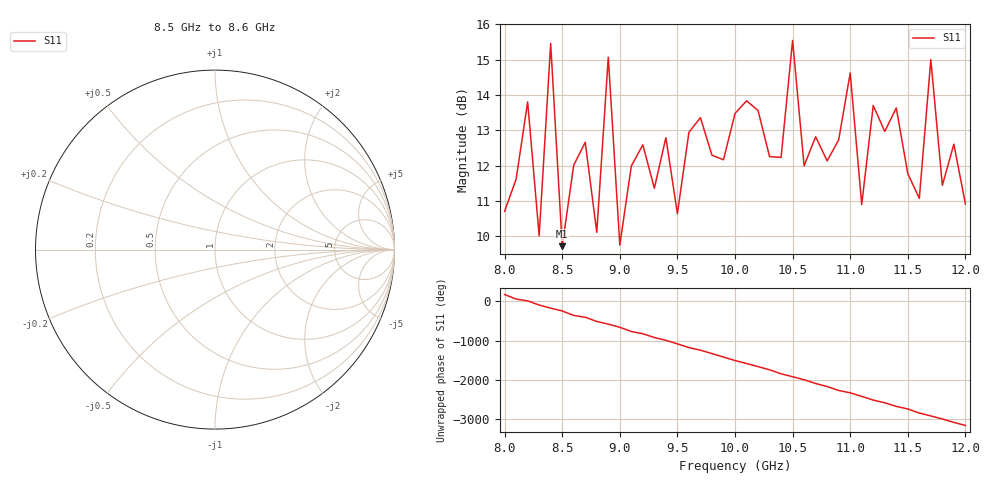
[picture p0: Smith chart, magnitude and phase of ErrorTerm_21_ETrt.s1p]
!  1-Port S-parameters saved by WinCal
! VAR NAME=2-Port SOLT labuser 2
! VAR Error Term Name=ETrt phys rcv port 2 phys src port 1
# Hz S RI R 50
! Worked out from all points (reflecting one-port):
!   41 points, 8 GHz to 12 GHz, reference 50 ohm
!   lowest |S11| = 9.7 dB at 8.5 GHz (marker M1)
!   phase of S11 starts at 174 deg and turns -3337 deg over the sweep
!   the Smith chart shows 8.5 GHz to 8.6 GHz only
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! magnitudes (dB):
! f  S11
! 8 GHz  10.7
! 8.2 GHz  13.8
! 8.3 GHz  10.0
! 8.4 GHz  15.5
! 8.5 GHz  9.7
! 8.7 GHz  12.7
! 8.8 GHz  10.1
! 8.9 GHz  15.1
! 9 GHz  9.8
! 9.2 GHz  12.6
! 9.3 GHz  11.4
! 9.4 GHz  12.8
! 9.5 GHz  10.6
! 9.6 GHz  12.9
! 10 GHz  13.5
! 10.4 GHz  12.2
! 10.5 GHz  15.5
! 10.6 GHz  12.0
! 10.9 GHz  12.7
! 11 GHz  14.6
! 11.1 GHz  10.9
! 11.2 GHz  13.7
! 11.5 GHz  11.8
! 11.6 GHz  11.1
! 11.7 GHz  15.0
! 11.8 GHz  11.4
! 11.9 GHz  12.6
! 12 GHz  10.9
